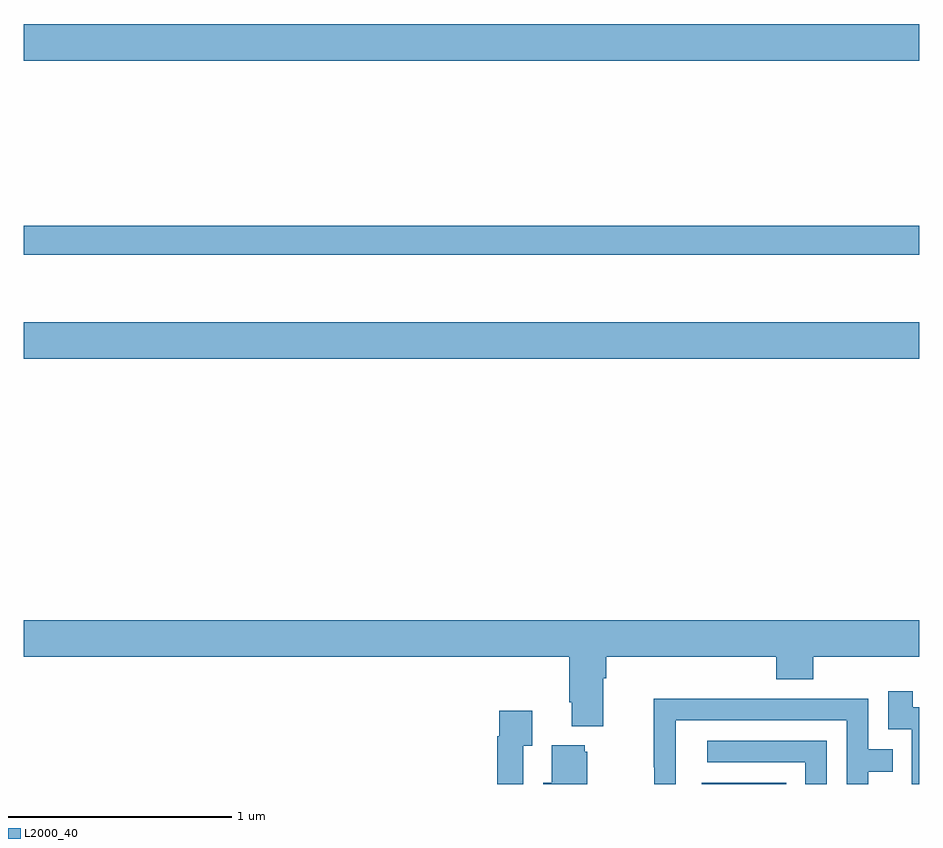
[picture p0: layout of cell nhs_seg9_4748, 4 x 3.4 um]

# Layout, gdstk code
import gdstk
lib = gdstk.Library(unit=1e-6, precision=1e-09)
def R(c, l, rs):  # rectangles x0, y0, x1, y1
    for r in rs: c.add(gdstk.rectangle(r[:2], r[2:], *l))
def P(c, l, *ps):  # polygons
    for p in ps: c.add(gdstk.Polygon(p, *l))
L2000_40 = (2000, 40)

nhs_seg9_4748 = lib.new_cell('nhs_seg9_4748')
R(nhs_seg9_4748, L2000_40, [(388.028,1214.5,388.406,1214.506), (385,1216.4,389,1216.564), (385,1216.866,389,1216.994), (385,1217.732,389,1217.896)])
P(nhs_seg9_4748, L2000_40, [(387.589,1214.972),(387.602,1214.972),(387.602,1215.068),(388.361,1215.068),(388.361,1214.969),(388.526,1214.969),(388.526,1215.068),(389,1215.068),(389,1215.232),(385,1215.232),(385,1215.068),(387.437,1215.068),(387.437,1214.866),(387.449,1214.866),(387.449,1214.759),(387.589,1214.759)],
  [(389,1214.844),(388.972,1214.844),(388.972,1214.914),(388.863,1214.914),(388.863,1214.745),(388.968,1214.745),(388.968,1214.516),(388.967,1214.516),(388.967,1214.5),(389,1214.5)],
  [(387.912,1214.784),(388.677,1214.784),(388.677,1214.5),(388.773,1214.5),(388.773,1214.554),(388.883,1214.554),(388.883,1214.655),(388.773,1214.655),(388.773,1214.88),(388.277,1214.88),(388.277,1214.882),(387.814,1214.882),(387.814,1214.575),(387.816,1214.575),(387.816,1214.5),(387.912,1214.5)],
  [(387.231,1214.671),(387.271,1214.671),(387.271,1214.827),(387.123,1214.827),(387.123,1214.714),(387.115,1214.714),(387.115,1214.5),(387.231,1214.5)],
  [(388.587,1214.694),(388.053,1214.694),(388.053,1214.598),(388.491,1214.598),(388.491,1214.5),(388.587,1214.5)],
  [(387.517,1214.643),(387.506,1214.643),(387.506,1214.674),(387.359,1214.674),(387.359,1214.506),(387.32,1214.506),(387.32,1214.5),(387.517,1214.5)])

lib.write_gds('nhs_seg9_4748.gds')
